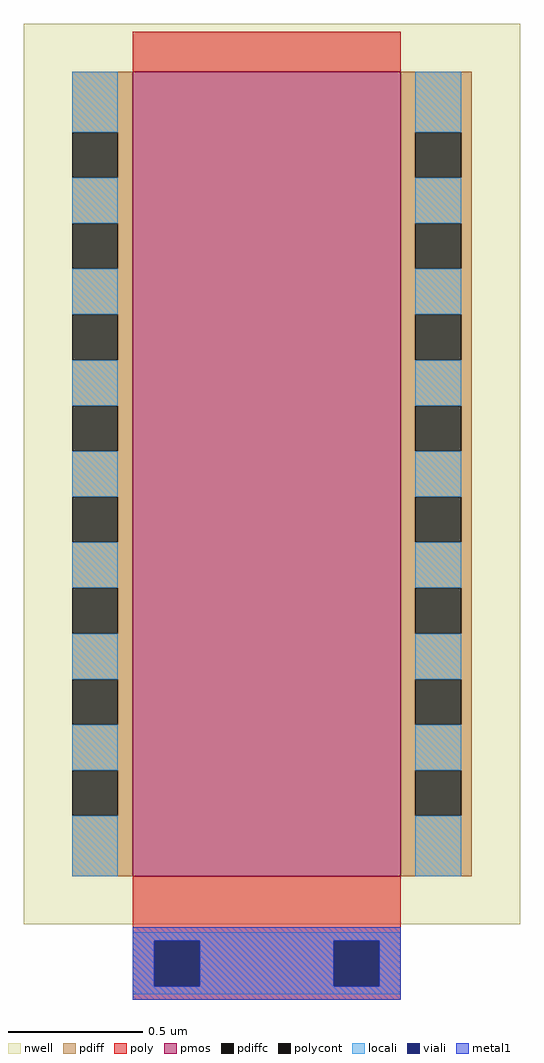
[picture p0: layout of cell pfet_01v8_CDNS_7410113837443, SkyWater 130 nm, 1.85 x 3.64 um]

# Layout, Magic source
magic
tech sky130A
magscale 1 2
<< nwell >>
rect -81 -36 289 636
<< pmos >>
rect 0 0 200 600
<< pdiff >>
rect -45 555 0 600
rect -11 521 0 555
rect -45 487 0 521
rect -11 453 0 487
rect -45 419 0 453
rect -11 385 0 419
rect -45 351 0 385
rect -11 317 0 351
rect -45 283 0 317
rect -11 249 0 283
rect -45 215 0 249
rect -11 181 0 215
rect -45 147 0 181
rect -11 113 0 147
rect -45 79 0 113
rect -11 45 0 79
rect -45 0 0 45
rect 200 555 253 600
rect 200 521 211 555
rect 245 521 253 555
rect 200 487 253 521
rect 200 453 211 487
rect 245 453 253 487
rect 200 419 253 453
rect 200 385 211 419
rect 245 385 253 419
rect 200 351 253 385
rect 200 317 211 351
rect 245 317 253 351
rect 200 283 253 317
rect 200 249 211 283
rect 245 249 253 283
rect 200 215 253 249
rect 200 181 211 215
rect 245 181 253 215
rect 200 147 253 181
rect 200 113 211 147
rect 245 113 253 147
rect 200 79 253 113
rect 200 45 211 79
rect 245 45 253 79
rect 200 0 253 45
<< pdiffc >>
rect -45 521 -11 555
rect -45 453 -11 487
rect -45 385 -11 419
rect -45 317 -11 351
rect -45 249 -11 283
rect -45 181 -11 215
rect -45 113 -11 147
rect -45 45 -11 79
rect 211 521 245 555
rect 211 453 245 487
rect 211 385 245 419
rect 211 317 245 351
rect 211 249 245 283
rect 211 181 245 215
rect 211 113 245 147
rect 211 45 245 79
<< poly >>
rect 0 600 200 630
rect 0 -48 200 0
rect 0 -82 16 -48
rect 50 -82 150 -48
rect 184 -82 200 -48
rect 0 -92 200 -82
<< polycont >>
rect 16 -82 50 -48
rect 150 -82 184 -48
<< locali >>
rect -45 555 -11 600
rect -45 487 -11 521
rect -45 419 -11 453
rect -45 351 -11 385
rect -45 283 -11 317
rect -45 215 -11 249
rect -45 147 -11 181
rect -45 79 -11 113
rect -45 0 -11 45
rect 211 555 245 600
rect 211 487 245 521
rect 211 419 245 453
rect 211 351 245 385
rect 211 283 245 317
rect 211 215 245 249
rect 211 147 245 181
rect 211 79 245 113
rect 211 0 245 45
rect 0 -48 200 -42
rect 0 -82 16 -48
rect 50 -82 150 -48
rect 184 -82 200 -48
rect 0 -88 200 -82
<< viali >>
rect 16 -82 50 -48
rect 150 -82 184 -48
<< metal1 >>
rect 0 -48 200 -38
rect 0 -82 16 -48
rect 50 -82 150 -48
rect 184 -82 200 -48
rect 0 -92 200 -82
<< end >>
